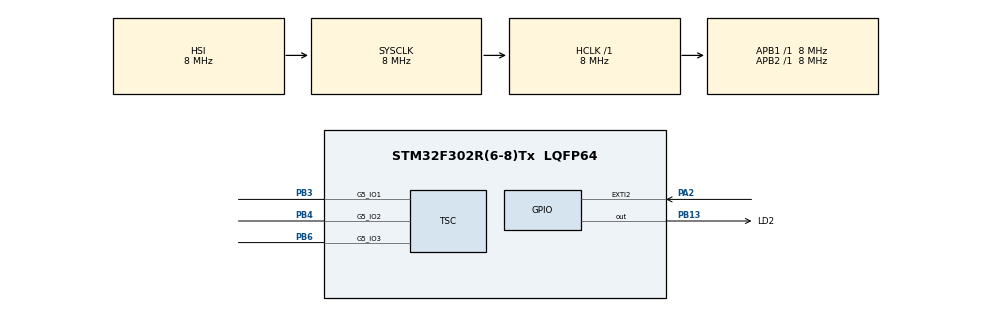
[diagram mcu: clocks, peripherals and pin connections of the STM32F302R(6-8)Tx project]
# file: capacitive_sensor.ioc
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Mcu.Family=STM32F3
Mcu.Name=STM32F302R(6-8)Tx
Mcu.Package=LQFP64
NVIC.EXTI2_TSC_IRQn=true\:0\:0\:false\:false\:true\:true\:true
NVIC.PriorityGroup=NVIC_PRIORITYGROUP_4
PA2.Signal=GPXTI2
PB13.GPIO_Label=LD2
PB13.Signal=GPIO_Output
PB3.Mode=G5_IO1-Channel
PB3.Signal=TSC_G5_IO1
PB4.Mode=G5_IO2-Channel
PB4.Signal=TSC_G5_IO2
PB6.Mode=G5_IO3-Sampling
PB6.Signal=TSC_G5_IO3
ProjectManager.HeapSize=0x200
ProjectManager.StackSize=0x400
ProjectManager.TargetToolchain=TrueSTUDIO
RCC.AHBFreq_Value=8000000
RCC.APB1Freq_Value=8000000
RCC.APB2Freq_Value=8000000
RCC.CortexFreq_Value=8000000
RCC.HSE_VALUE=8000000
RCC.HSI_VALUE=8000000
RCC.LSE_VALUE=32768
RCC.SYSCLKFreq_VALUE=8000000
TSC.CTPulseHighLength=TSC_CTPH_4CYCLES
TSC.CTPulseLowLength=TSC_CTPL_4CYCLES
TSC.ChannelIOs-G5_IO1=TSC_GROUP5_IO1
TSC.ChannelIOs-G5_IO1-Channel=TSC_GROUP5_IO1
TSC.ChannelIOs-G5_IO2=TSC_GROUP5_IO2
TSC.ChannelIOs-G5_IO2-Channel=TSC_GROUP5_IO2
TSC.MaxCountValue=TSC_MCV_8191
TSC.SamplingIOs-G5_IO3=TSC_GROUP5_IO3
TSC.SamplingIOs-G5_IO3-Sampling=TSC_GROUP5_IO3
board=custom

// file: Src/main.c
/* USER CODE BEGIN Header */
/**
  ******************************************************************************
  * @file           : main.c
  * @brief          : Main program body
  ******************************************************************************
  * @attention
  *
  * <h2><center>&copy; Copyright (c) 2020 STMicroelectronics.
  * All rights reserved.</center></h2>
  *
  * This software component is licensed by ST under BSD 3-Clause license,
  * the "License"; You may not use this file except in compliance with the
  * License. You may obtain a copy of the License at:
  *                        opensource.org/licenses/BSD-3-Clause
  *
  ******************************************************************************
  */
/* USER CODE END Header */

#include "main.h"

/* USER CODE BEGIN PD */
/* These values can be modified, board shield dependency */
//#define TSCx_MIN_THRESHOLD              1000
//#define TSCx_LOW_MAXTHRESHOLD           2845
//#define TSCx_MEDIUM_MAXTHRESHOLD        2640
//#define TSCx_HIGH_MAXTHRESHOLD          2500

#define TSCx_TS1_MINTHRESHOLD			0
#define TSCx_TS1_MAXTHRESHOLD			3100
#define TSCx_TS2_MINTHRESHOLD			0
#define TSCx_TS2_MAXTHRESHOLD			6150

/* USER CODE END PD */

TSC_HandleTypeDef htsc;

/* USER CODE BEGIN PV */
uint8_t cap_sensor = 0;
TSC_IOConfigTypeDef IoConfig;
Debouncer dbs[2] = {{0,0,0}, {0,0,0}};
volatile TouchDetector touch_detector;
/* USER CODE END PV */

void SystemClock_Config(void);
static void MX_GPIO_Init(void);
static void MX_TSC_Init(void);

int main(void)
{

  /* MCU Configuration--------------------------------------------------------*/

  /* Reset of all peripherals, Initializes the Flash interface and the Systick. */
  HAL_Init();

  /* Configure the system clock */
  SystemClock_Config();

  /* Initialize all configured peripherals */
  MX_GPIO_Init();
  MX_TSC_Init();
  /* USER CODE BEGIN 2 */

  /*##-2- Configure the touch-sensing IOs ####################################*/
  IoConfig.ChannelIOs  = TSC_GROUP5_IO1; /* Start with the first channel */
  IoConfig.SamplingIOs = TSC_GROUP5_IO3;
  IoConfig.ShieldIOs = 0;

  if (HAL_TSC_IOConfig(&htsc, &IoConfig) != HAL_OK)
  {
    /* Initialization Error */
    Error_Handler();
  }

  /*##-1- Discharge the touch-sensing IOs ####################################*/
  HAL_TSC_IODischarge(&htsc, ENABLE);
  HAL_Delay(1); /* 1 ms is more than enough to discharge all capacitors */

  /*##-2- Start the acquisition process ######################################*/
  if (HAL_TSC_Start_IT(&htsc) != HAL_OK)
  {
    /* Acquisition Error */
    Error_Handler();
  }

  /* USER CODE END 2 */

  /* Infinite loop */
  /* USER CODE BEGIN WHILE */
  while (1)
  {
	  //HAL_SuspendTick();
	  //HAL_PWR_EnterSLEEPMode(PWR_MAINREGULATOR_ON, PWR_SLEEPENTRY_WFI);
	  //HAL_ResumeTick();
    /* USER CODE END WHILE */

  }
}

void SystemClock_Config(void)
{
  RCC_OscInitTypeDef RCC_OscInitStruct = {0};
  RCC_ClkInitTypeDef RCC_ClkInitStruct = {0};

  /** Initializes the CPU, AHB and APB busses clocks
  */
  RCC_OscInitStruct.OscillatorType = RCC_OSCILLATORTYPE_HSI;
  RCC_OscInitStruct.HSIState = RCC_HSI_ON;
  RCC_OscInitStruct.HSICalibrationValue = RCC_HSICALIBRATION_DEFAULT;
  RCC_OscInitStruct.PLL.PLLState = RCC_PLL_NONE;
  if (HAL_RCC_OscConfig(&RCC_OscInitStruct) != HAL_OK)
  {
    Error_Handler();
  }
  /** Initializes the CPU, AHB and APB busses clocks
  */
  RCC_ClkInitStruct.ClockType = RCC_CLOCKTYPE_HCLK|RCC_CLOCKTYPE_SYSCLK
                              |RCC_CLOCKTYPE_PCLK1|RCC_CLOCKTYPE_PCLK2;
  RCC_ClkInitStruct.SYSCLKSource = RCC_SYSCLKSOURCE_HSI;
  RCC_ClkInitStruct.AHBCLKDivider = RCC_SYSCLK_DIV1;
  RCC_ClkInitStruct.APB1CLKDivider = RCC_HCLK_DIV1;
  RCC_ClkInitStruct.APB2CLKDivider = RCC_HCLK_DIV1;

  if (HAL_RCC_ClockConfig(&RCC_ClkInitStruct, FLASH_LATENCY_0) != HAL_OK)
  {
    Error_Handler();
  }
}

static void MX_TSC_Init(void)
{

  /** Configure the TSC peripheral
  */
  htsc.Instance = TSC;
  htsc.Init.CTPulseHighLength = TSC_CTPH_4CYCLES;
  htsc.Init.CTPulseLowLength = TSC_CTPL_4CYCLES;
  htsc.Init.SpreadSpectrum = DISABLE;
  htsc.Init.SpreadSpectrumDeviation = 1;
  htsc.Init.SpreadSpectrumPrescaler = TSC_SS_PRESC_DIV1;
  htsc.Init.PulseGeneratorPrescaler = TSC_PG_PRESC_DIV4;
  htsc.Init.MaxCountValue = TSC_MCV_8191;
  htsc.Init.IODefaultMode = TSC_IODEF_OUT_PP_LOW;
  htsc.Init.SynchroPinPolarity = TSC_SYNC_POLARITY_FALLING;
  htsc.Init.AcquisitionMode = TSC_ACQ_MODE_NORMAL;
  htsc.Init.MaxCountInterrupt = DISABLE;
  htsc.Init.ChannelIOs = TSC_GROUP5_IO1|TSC_GROUP5_IO2;
  htsc.Init.ShieldIOs = 0;
  htsc.Init.SamplingIOs = TSC_GROUP5_IO3;
  if (HAL_TSC_Init(&htsc) != HAL_OK)
  {
    Error_Handler();
  }

}

static void MX_GPIO_Init(void)
{
  GPIO_InitTypeDef GPIO_InitStruct = {0};

  /* GPIO Ports Clock Enable */
  __HAL_RCC_GPIOA_CLK_ENABLE();
  __HAL_RCC_GPIOB_CLK_ENABLE();

  /*Configure GPIO pin Output Level */
  HAL_GPIO_WritePin(LD2_GPIO_Port, LD2_Pin, GPIO_PIN_RESET);

  /*Configure GPIO pin : PA2 */
  GPIO_InitStruct.Pin = GPIO_PIN_2;
  GPIO_InitStruct.Mode = GPIO_MODE_IT_RISING;
  GPIO_InitStruct.Pull = GPIO_NOPULL;
  HAL_GPIO_Init(GPIOA, &GPIO_InitStruct);

  /*Configure GPIO pin : LD2_Pin */
  GPIO_InitStruct.Pin = LD2_Pin;
  GPIO_InitStruct.Mode = GPIO_MODE_OUTPUT_PP;
  GPIO_InitStruct.Pull = GPIO_NOPULL;
  GPIO_InitStruct.Speed = GPIO_SPEED_FREQ_LOW;
  HAL_GPIO_Init(LD2_GPIO_Port, &GPIO_InitStruct);

  /* EXTI interrupt init*/
  HAL_NVIC_SetPriority(EXTI2_TSC_IRQn, 0, 0);
  HAL_NVIC_EnableIRQ(EXTI2_TSC_IRQn);

}

/* USER CODE BEGIN 4 */

/**
  * @brief  Acquisition completed callback in non blocking mode
  * @param  htsc: pointer to a TSC_HandleTypeDef structure that contains
  *         the configuration information for the specified TSC.
  * @retval None
  */

void HAL_TSC_ConvCpltCallback(TSC_HandleTypeDef* htsc){
	  /*##-5- Discharge the touch-sensing IOs ####################################*/
	  HAL_TSC_IODischarge(htsc, ENABLE);
	  /* Note: a delay can be added here */

	  uint32_t uhTSCAcquisitionValue;
	  TSC_GroupStatusTypeDef status = HAL_TSC_GroupGetStatus(htsc, TSC_GROUP5_IDX);
	  uint32_t cur_time;
	  /*##-6- Check if the acquisition is correct (no max count) #################*/
	  if (status == TSC_GROUP_COMPLETED)
	  {
	    /*##-7- Read the acquisition value #######################################*/
	    uhTSCAcquisitionValue = HAL_TSC_GroupGetValue(htsc, TSC_GROUP5_IDX);
	    uint8_t touch;
	    if(cap_sensor == 0){
	    	touch = (uhTSCAcquisitionValue >= TSCx_TS1_MINTHRESHOLD) && (uhTSCAcquisitionValue <= TSCx_TS1_MAXTHRESHOLD);
	    }
	    else{
	    	touch = (uhTSCAcquisitionValue >= TSCx_TS2_MINTHRESHOLD) && (uhTSCAcquisitionValue <= TSCx_TS2_MAXTHRESHOLD);
	    }

	    cur_time = HAL_GetTick();
	    debounce(&dbs[cap_sensor], touch, cur_time);
	    process_touches(&touch_detector, dbs, cur_time);
	  }

	  //Switches between the two channels to be acquired
	  if (cap_sensor == 0)
	  {
	    IoConfig.ChannelIOs = TSC_GROUP5_IO2; /* TS2 touchkey */
	    cap_sensor = 1;
	  }
	  else
	  {
	    IoConfig.ChannelIOs = TSC_GROUP5_IO1; /* TS1 touchkey */
	    cap_sensor = 0;
	  }

	  if (HAL_TSC_IOConfig(htsc, &IoConfig) != HAL_OK)
	  {
	    /* Initialization Error */
	    Error_Handler();
	  }

	  /*##-9- Re-start the acquisition process ###################################*/
	  if (HAL_TSC_Start_IT(htsc) != HAL_OK)
	  {
	    /* Acquisition Error */
	    Error_Handler();
	  }
}

/* USER CODE END 4 */

void Error_Handler(void)
{
}

/************************ (C) COPYRIGHT STMicroelectronics *****END OF FILE****/
